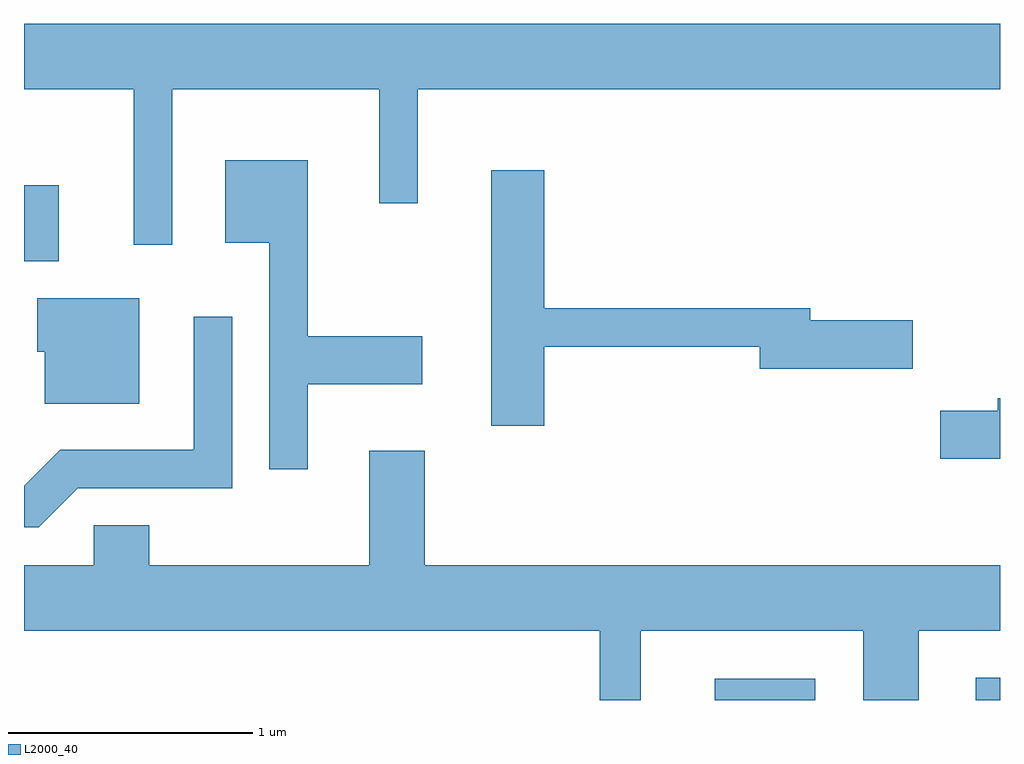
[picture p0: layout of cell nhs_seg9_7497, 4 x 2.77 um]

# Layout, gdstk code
import gdstk
lib = gdstk.Library(unit=1e-6, precision=1e-09)
def R(c, l, rs):  # rectangles x0, y0, x1, y1
    for r in rs: c.add(gdstk.rectangle(r[:2], r[2:], *l))
def P(c, l, *ps):  # polygons
    for p in ps: c.add(gdstk.Polygon(p, *l))
L2000_40 = (2000, 40)

nhs_seg9_7497 = lib.new_cell('nhs_seg9_7497')
R(nhs_seg9_7497, L2000_40, [(410.441,1980.432,410.854,1980.519), (411.511,1980.432,411.611,1980.524), (407.611,1982.231,407.754,1982.543)])
P(nhs_seg9_7497, L2000_40, [(408.219,1982.936),(409.066,1982.936),(409.066,1982.468),(409.224,1982.468),(409.224,1982.936),(411.611,1982.936),(411.611,1983.204),(407.611,1983.204),(407.611,1982.936),(408.061,1982.936),(408.061,1982.298),(408.219,1982.298)],
  [(408.774,1981.726),(409.244,1981.726),(409.244,1981.924),(408.774,1981.924),(408.774,1982.644),(408.436,1982.644),(408.436,1982.306),(408.616,1982.306),(408.616,1981.378),(408.774,1981.378)],
  [(409.744,1981.881),(410.626,1981.881),(410.626,1981.791),(411.254,1981.791),(411.254,1981.989),(410.834,1981.989),(410.834,1982.039),(409.744,1982.039),(409.744,1982.604),(409.526,1982.604),(409.526,1981.556),(409.744,1981.556)],
  [(408.084,1982.079),(407.666,1982.079),(407.666,1981.861),(407.696,1981.861),(407.696,1981.646),(408.084,1981.646)],
  [(407.832,1981.301),(408.464,1981.301),(408.464,1982.003),(408.306,1982.003),(408.306,1981.459),(407.759,1981.459),(407.611,1981.311),(407.611,1981.141),(407.672,1981.141)],
  [(411.611,1981.669),(411.601,1981.669),(411.601,1981.619),(411.366,1981.619),(411.366,1981.421),(411.611,1981.421)],
  [(410.139,1980.716),(411.051,1980.716),(411.051,1980.432),(411.279,1980.432),(411.279,1980.716),(411.611,1980.716),(411.611,1980.984),(409.254,1980.984),(409.254,1981.454),(409.026,1981.454),(409.026,1980.984),(408.124,1980.984),(408.124,1981.149),(407.896,1981.149),(407.896,1980.984),(407.611,1980.984),(407.611,1980.716),(409.971,1980.716),(409.971,1980.432),(410.139,1980.432)])

lib.write_gds('nhs_seg9_7497.gds')
